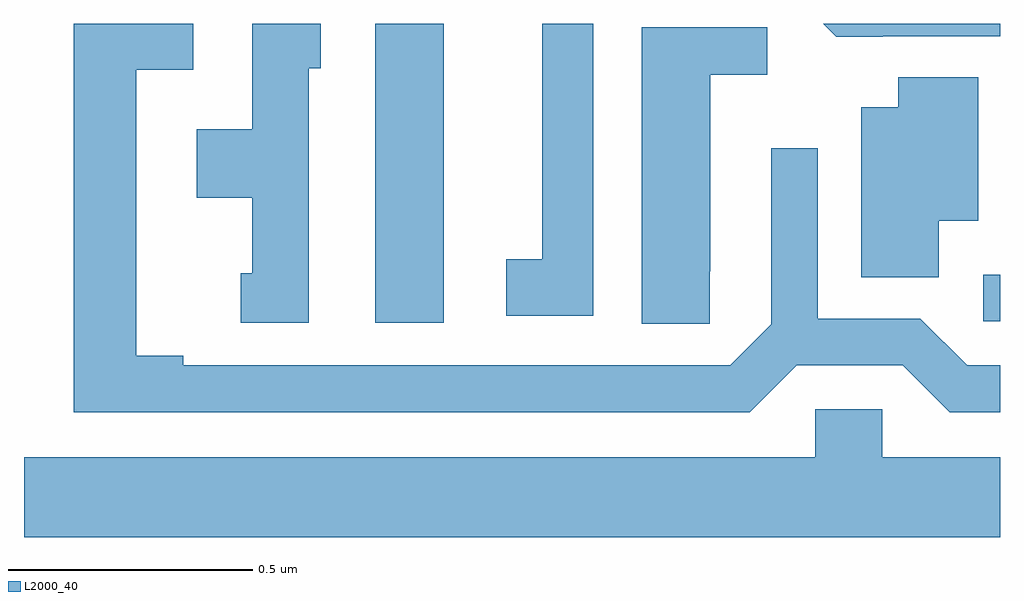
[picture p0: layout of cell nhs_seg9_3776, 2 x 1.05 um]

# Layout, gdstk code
import gdstk
lib = gdstk.Library(unit=1e-6, precision=1e-09)
def R(c, l, rs):  # rectangles x0, y0, x1, y1
    for r in rs: c.add(gdstk.rectangle(r[:2], r[2:], *l))
def P(c, l, *ps):  # polygons
    for p in ps: c.add(gdstk.Polygon(p, *l))
L2000_40 = (2000, 40)

nhs_seg9_3776 = lib.new_cell('nhs_seg9_3776')
R(nhs_seg9_3776, L2000_40, [(158.72,1168.887,158.86,1169.5), (159.966,1168.89,160,1168.986)])
P(nhs_seg9_3776, L2000_40, [(159.166,1169.5),(159.062,1169.5),(159.062,1169.018),(158.988,1169.018),(158.988,1168.902),(159.166,1168.902)],
  [(159.76,1169.475),(160,1169.475),(160,1169.5),(159.638,1169.5),(159.664,1169.474),(159.76,1169.474)],
  [(159.583,1168.8),(159.801,1168.8),(159.897,1168.704),(160,1168.704),(160,1168.8),(159.933,1168.8),(159.837,1168.896),(159.627,1168.896),(159.627,1169.245),(159.531,1169.245),(159.531,1168.884),(159.447,1168.8),(158.326,1168.8),(158.326,1168.82),(158.23,1168.82),(158.23,1169.406),(158.347,1169.406),(158.347,1169.5),(158.102,1169.5),(158.102,1168.704),(159.487,1168.704)],
  [(158.584,1169.409),(158.608,1169.409),(158.608,1169.5),(158.468,1169.5),(158.468,1169.284),(158.354,1169.284),(158.354,1169.144),(158.468,1169.144),(158.468,1168.989),(158.444,1168.989),(158.444,1168.887),(158.584,1168.887)],
  [(159.405,1168.993),(159.406,1168.993),(159.406,1169.396),(159.523,1169.396),(159.523,1169.493),(159.266,1169.493),(159.266,1168.885),(159.405,1168.885)],
  [(159.874,1169.096),(159.955,1169.096),(159.955,1169.39),(159.791,1169.39),(159.791,1169.329),(159.716,1169.329),(159.716,1168.981),(159.874,1168.981)],
  [(160,1168.612),(159.759,1168.612),(159.759,1168.71),(159.621,1168.71),(159.621,1168.612),(158,1168.612),(158,1168.448),(160,1168.448)])

lib.write_gds('nhs_seg9_3776.gds')
